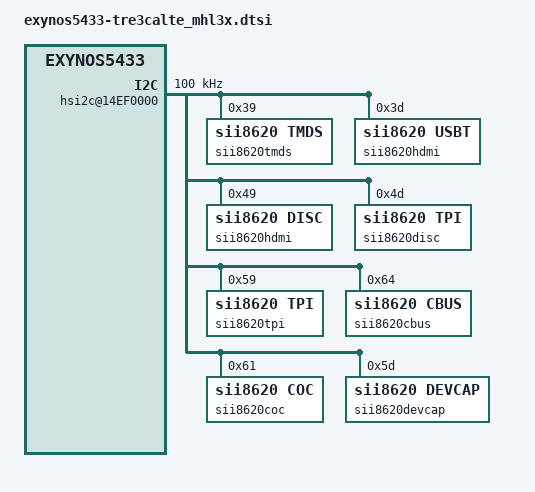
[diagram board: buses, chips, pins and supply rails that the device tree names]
/* Copyright (c) 2013, Samsung Electronics Corporation. All rights reserved.
 *
 * This program is free software; you can redistribute it and/or modify
 * it under the terms of the GNU General Public License version 2 and
 * only version 2 as published by the Free Software Foundation.
 *
 * This program is distributed in the hope that it will be useful,
 * but WITHOUT ANY WARRANTY; without even the implied warranty of
 * MERCHANTABILITY or FITNESS FOR A PARTICULAR PURPOSE.  See the
 * GNU General Public License for more details.
 */

/ {
	hsi2c@14EF0000 {
		status = "okay";
		samsung,fs-mode;
		clock-frequency = <100000>;

		sii8620tmds@39 {
			compatible = "sii8620,tmds";
			reg = <0x39>; /* 0x72 >> 1 */
			sii8620,client_id = <0x00>;

			pinctrl-names = "default";
			pinctrl-0 = <&mhl_irq>;

			sii8620,gpio_mhl_irq = <&gpf0 2 0>;
			sii8620,gpio_mhl_reset = <&gpv7 0 0>;
			sii8620,gpio_mhl_scl = <&gpd2 7 0>;
			sii8620,gpio_mhl_sda = <&gpd2 6 0>;
			sii8620,swing_level_v2 = <0xBB>;
			sii8620,swing_level_v3 = <0xA2>;
			sii8620,ref_current = <0x08>;

			clocks = <&clock 4300>;
			clock-names = "mhl_clkout";
		};
		sii8620hdmi@3D {
			compatible = "sii8620,usbt";
			reg = <0x3D>; /* 0x7A >> 1 */
			sii8620,client_id = <0x01>;
		};
		sii8620hdmi@49 {
			compatible = "sii8620,disc";
			reg = <0x49>;  /* 0x92 >> 1 */
			sii8620,client_id = <0x02>;
		};
		sii8620disc@4D {
			compatible = "sii8620,tpi";
			reg = <0x4D>;   /* 0x9A >> 1 */
			sii8620,client_id = <0x03>;
		};
		sii8620tpi@59 {
			compatible = "sii8620,tpi";
			reg = <0x59>;  /* 0xB2 >> 1 */
			sii8620,client_id = <0x04>;
		};
		sii8620cbus@64 {
			compatible = "sii8620,cbus";
			reg = <0x64>;  /* 0xC8 >> 1 */
			sii8620,client_id = <0x05>;
		};
		sii8620coc@61 {
			compatible = "sii8620,coc";
			reg = <0x61>;  /* 0xC2 >> 1 */
			sii8620,client_id = <0x06>;
		};
		sii8620devcap@5D {
			compatible = "sii8620,devcap";
			reg = <0x5D>;  /* 0xBA >> 1 */
			sii8620,client_id = <0x07>;
		};
	};

	pinctrl@11090000 {
		mhl_irq: mhl-irq {
			 samsung,pins = "gpf0-2";
			 samsung,pins-function = <0>;
			 samsung,pin-pud = <1>;
			 samsung,pin-drv = <0>;
		};
	};

};
